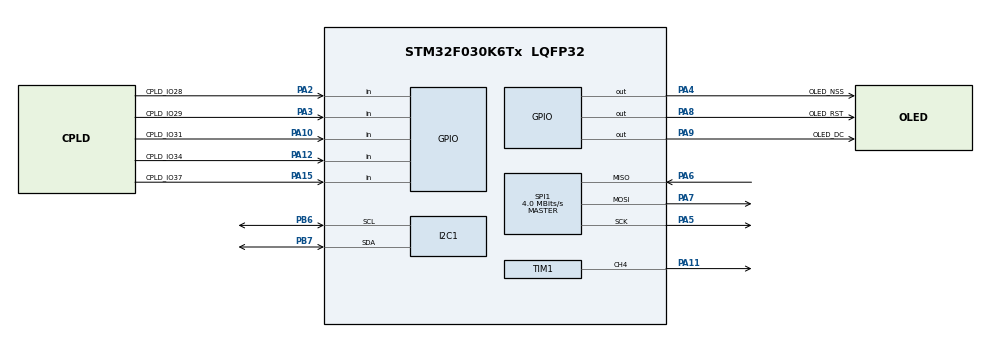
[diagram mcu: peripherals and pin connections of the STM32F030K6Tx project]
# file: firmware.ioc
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I2C1.Timing=0x00201D2B
Mcu.Family=STM32F0
Mcu.Name=STM32F030K6Tx
Mcu.Package=LQFP32
PA10.GPIO_Label=CPLD_IO31
PA10.Signal=GPIO_Input
PA11.Signal=S_TIM1_CH4
PA12.GPIO_Label=CPLD_IO34
PA12.Signal=GPIO_Input
PA13.Mode=Serial_Wire
PA13.Signal=SYS_SWDIO
PA14.Mode=Serial_Wire
PA14.Signal=SYS_SWCLK
PA15.GPIO_Label=CPLD_IO37
PA15.Signal=GPIO_Input
PA2.GPIO_Label=CPLD_IO28
PA2.Signal=GPIO_Input
PA3.GPIO_Label=CPLD_IO29
PA3.Signal=GPIO_Input
PA4.GPIO_Label=OLED_NSS
PA4.Signal=GPIO_Output
PA5.Mode=Full_Duplex_Master
PA5.Signal=SPI1_SCK
PA6.Mode=Full_Duplex_Master
PA6.Signal=SPI1_MISO
PA7.Mode=Full_Duplex_Master
PA7.Signal=SPI1_MOSI
PA8.GPIO_Label=OLED_RST
PA8.Signal=GPIO_Output
PA9.GPIO_Label=OLED_DC
PA9.Signal=GPIO_Output
PB6.Mode=I2C
PB6.Signal=I2C1_SCL
PB7.Mode=I2C
PB7.Signal=I2C1_SDA
ProjectManager.HeapSize=0x200
ProjectManager.StackSize=0x400
ProjectManager.TargetToolchain=Makefile
SH.S_TIM1_CH4.0=TIM1_CH4,PWM Generation4 CH4
SPI1.CalculateBaudRate=4.0 MBits/s
SPI1.DataSize=SPI_DATASIZE_8BIT
SPI1.Direction=SPI_DIRECTION_2LINES
SPI1.Mode=SPI_MODE_MASTER
SPI1.VirtualType=VM_MASTER
TIM1.Channel-PWM\ Generation4\ CH4=TIM_CHANNEL_4
TIM1.Period=999
TIM1.Pulse-PWM\ Generation4\ CH4=500
VP_TIM1_VS_ClockSourceINT.Mode=Internal
board=custom

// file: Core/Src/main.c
/* USER CODE BEGIN Header */
/**
  ******************************************************************************
  * @file           : main.c
  * @brief          : Main program body
  ******************************************************************************
  * @attention
  *
  * Copyright (c) 2026 STMicroelectronics.
  * All rights reserved.
  *
  * This software is licensed under terms that can be found in the LICENSE file
  * in the root directory of this software component.
  * If no LICENSE file comes with this software, it is provided AS-IS.
  *
  ******************************************************************************
  */
/* USER CODE END Header */
#include "main.h"

/* USER CODE BEGIN Includes */
#include "oled_sh1106.h"
#include "stm32f0xx.h"
#include "stm32f0xx_hal_gpio_ex.h"
/* USER CODE END Includes */

I2C_HandleTypeDef hi2c1;

SPI_HandleTypeDef hspi1;

TIM_HandleTypeDef htim1;

void SystemClock_Config(void);
static void MX_GPIO_Init(void);
static void MX_SPI1_Init(void);
static void MX_TIM1_Init(void);
static void MX_I2C1_Init(void);

int main(void)
{

  /* MCU Configuration--------------------------------------------------------*/

  /* Reset of all peripherals, Initializes the Flash interface and the Systick. */
  HAL_Init();

  /* Configure the system clock */
  SystemClock_Config();

  /* Initialize all configured peripherals */
  MX_GPIO_Init();
  MX_SPI1_Init();
  MX_TIM1_Init();
  MX_I2C1_Init();
  /* USER CODE BEGIN 2 */
  /* CPLD clock: TIM1_CH4 8kHz PWM (configured in CubeMX) */
  HAL_TIM_PWM_Start(&htim1, TIM_CHANNEL_4);

  OLED_Init();

  /* Layout: 5 columns for monitor. Centers ~14,38,62,86,110 */
  #define CPLD_N      5
  #define CPLD_CX(i)  (14 + (i) * 24)
  #define CPLD_CY     26
  #define CPLD_R      5
  #define LABEL_Y     10
  #define DIGIT_Y     40
  #define BOX_Y0      18
  #define BOX_Y1      52

  /* Static frame: border + title + labels (28,29,31,34,37) - labels centered under icons */
  OLED_DrawRect(0, 0, OLED_WIDTH - 1, OLED_HEIGHT - 1);
  OLED_DrawString(34, 0, "CPLD MON");  /* space between CPLD and MON */
  OLED_DrawString(CPLD_CX(0) - 6, LABEL_Y, "28");  /* 4px right: was 4, now 8 */
  OLED_DrawString(CPLD_CX(1) - 6, LABEL_Y, "29");  /* was 28, now 32 */
  OLED_DrawString(CPLD_CX(2) - 6, LABEL_Y, "31");  /* was 52, now 56 */
  OLED_DrawString(CPLD_CX(3) - 6, LABEL_Y, "34");  /* was 76, now 80 */
  OLED_DrawString(CPLD_CX(4) - 6, LABEL_Y, "37");  /* was 100, now 104 */
  OLED_Refresh();

  /* USER CODE END 2 */

  /* Infinite loop */
  while (1)
  {

    /* USER CODE BEGIN 3 */
    GPIO_PinState s[CPLD_N];
    s[0] = HAL_GPIO_ReadPin(GPIOA, GPIO_PIN_2);
    s[1] = HAL_GPIO_ReadPin(GPIOA, GPIO_PIN_3);
    s[2] = HAL_GPIO_ReadPin(GPIOA, GPIO_PIN_10);
    s[3] = HAL_GPIO_ReadPin(GPIOA, GPIO_PIN_12);
    s[4] = HAL_GPIO_ReadPin(GPIOA, GPIO_PIN_15);

    for (int i = 0; i < CPLD_N; i++) {
      uint8_t cx = CPLD_CX(i);
      OLED_ClearRect(cx - 11, BOX_Y0, cx + 11, BOX_Y1);
      OLED_DrawCircle(cx, CPLD_CY, CPLD_R, (s[i] == GPIO_PIN_SET));
      OLED_DrawChar(cx - 3, DIGIT_Y, (s[i] == GPIO_PIN_SET) ? '1' : '0');  /* 6px char: center at cx */
    }

    OLED_Refresh();
    HAL_Delay(50);
  }
  /* USER CODE END 3 */
}

void SystemClock_Config(void)
{
  RCC_OscInitTypeDef RCC_OscInitStruct = {0};
  RCC_ClkInitTypeDef RCC_ClkInitStruct = {0};
  RCC_PeriphCLKInitTypeDef PeriphClkInit = {0};

  /** Initializes the RCC Oscillators according to the specified parameters
  * in the RCC_OscInitTypeDef structure.
  */
  RCC_OscInitStruct.OscillatorType = RCC_OSCILLATORTYPE_HSI;
  RCC_OscInitStruct.HSIState = RCC_HSI_ON;
  RCC_OscInitStruct.HSICalibrationValue = RCC_HSICALIBRATION_DEFAULT;
  RCC_OscInitStruct.PLL.PLLState = RCC_PLL_NONE;
  if (HAL_RCC_OscConfig(&RCC_OscInitStruct) != HAL_OK)
  {
    Error_Handler();
  }

  /** Initializes the CPU, AHB and APB buses clocks
  */
  RCC_ClkInitStruct.ClockType = RCC_CLOCKTYPE_HCLK|RCC_CLOCKTYPE_SYSCLK
                              |RCC_CLOCKTYPE_PCLK1;
  RCC_ClkInitStruct.SYSCLKSource = RCC_SYSCLKSOURCE_HSI;
  RCC_ClkInitStruct.AHBCLKDivider = RCC_SYSCLK_DIV1;
  RCC_ClkInitStruct.APB1CLKDivider = RCC_HCLK_DIV1;

  if (HAL_RCC_ClockConfig(&RCC_ClkInitStruct, FLASH_LATENCY_0) != HAL_OK)
  {
    Error_Handler();
  }
  PeriphClkInit.PeriphClockSelection = RCC_PERIPHCLK_I2C1;
  PeriphClkInit.I2c1ClockSelection = RCC_I2C1CLKSOURCE_HSI;
  if (HAL_RCCEx_PeriphCLKConfig(&PeriphClkInit) != HAL_OK)
  {
    Error_Handler();
  }
}

static void MX_I2C1_Init(void)
{

  hi2c1.Instance = I2C1;
  hi2c1.Init.Timing = 0x00201D2B;
  hi2c1.Init.OwnAddress1 = 0;
  hi2c1.Init.AddressingMode = I2C_ADDRESSINGMODE_7BIT;
  hi2c1.Init.DualAddressMode = I2C_DUALADDRESS_DISABLE;
  hi2c1.Init.OwnAddress2 = 0;
  hi2c1.Init.OwnAddress2Masks = I2C_OA2_NOMASK;
  hi2c1.Init.GeneralCallMode = I2C_GENERALCALL_DISABLE;
  hi2c1.Init.NoStretchMode = I2C_NOSTRETCH_DISABLE;
  if (HAL_I2C_Init(&hi2c1) != HAL_OK)
  {
    Error_Handler();
  }

  /** Configure Analogue filter
  */
  if (HAL_I2CEx_ConfigAnalogFilter(&hi2c1, I2C_ANALOGFILTER_ENABLE) != HAL_OK)
  {
    Error_Handler();
  }

  /** Configure Digital filter
  */
  if (HAL_I2CEx_ConfigDigitalFilter(&hi2c1, 0) != HAL_OK)
  {
    Error_Handler();
  }

}

static void MX_SPI1_Init(void)
{

  /* SPI1 parameter configuration*/
  hspi1.Instance = SPI1;
  hspi1.Init.Mode = SPI_MODE_MASTER;
  hspi1.Init.Direction = SPI_DIRECTION_2LINES;
  hspi1.Init.DataSize = SPI_DATASIZE_8BIT;
  hspi1.Init.CLKPolarity = SPI_POLARITY_LOW;
  hspi1.Init.CLKPhase = SPI_PHASE_1EDGE;
  hspi1.Init.NSS = SPI_NSS_SOFT;
  hspi1.Init.BaudRatePrescaler = SPI_BAUDRATEPRESCALER_2;
  hspi1.Init.FirstBit = SPI_FIRSTBIT_MSB;
  hspi1.Init.TIMode = SPI_TIMODE_DISABLE;
  hspi1.Init.CRCCalculation = SPI_CRCCALCULATION_DISABLE;
  hspi1.Init.CRCPolynomial = 7;
  hspi1.Init.CRCLength = SPI_CRC_LENGTH_DATASIZE;
  hspi1.Init.NSSPMode = SPI_NSS_PULSE_ENABLE;
  if (HAL_SPI_Init(&hspi1) != HAL_OK)
  {
    Error_Handler();
  }

}

static void MX_TIM1_Init(void)
{

  TIM_ClockConfigTypeDef sClockSourceConfig = {0};
  TIM_MasterConfigTypeDef sMasterConfig = {0};
  TIM_OC_InitTypeDef sConfigOC = {0};
  TIM_BreakDeadTimeConfigTypeDef sBreakDeadTimeConfig = {0};

  htim1.Instance = TIM1;
  htim1.Init.Prescaler = 0;
  htim1.Init.CounterMode = TIM_COUNTERMODE_UP;
  htim1.Init.Period = 999;
  htim1.Init.ClockDivision = TIM_CLOCKDIVISION_DIV1;
  htim1.Init.RepetitionCounter = 0;
  htim1.Init.AutoReloadPreload = TIM_AUTORELOAD_PRELOAD_DISABLE;
  if (HAL_TIM_Base_Init(&htim1) != HAL_OK)
  {
    Error_Handler();
  }
  sClockSourceConfig.ClockSource = TIM_CLOCKSOURCE_INTERNAL;
  if (HAL_TIM_ConfigClockSource(&htim1, &sClockSourceConfig) != HAL_OK)
  {
    Error_Handler();
  }
  if (HAL_TIM_PWM_Init(&htim1) != HAL_OK)
  {
    Error_Handler();
  }
  sMasterConfig.MasterOutputTrigger = TIM_TRGO_RESET;
  sMasterConfig.MasterSlaveMode = TIM_MASTERSLAVEMODE_DISABLE;
  if (HAL_TIMEx_MasterConfigSynchronization(&htim1, &sMasterConfig) != HAL_OK)
  {
    Error_Handler();
  }
  sConfigOC.OCMode = TIM_OCMODE_PWM1;
  sConfigOC.Pulse = 500;
  sConfigOC.OCPolarity = TIM_OCPOLARITY_HIGH;
  sConfigOC.OCFastMode = TIM_OCFAST_DISABLE;
  sConfigOC.OCIdleState = TIM_OCIDLESTATE_RESET;
  sConfigOC.OCNIdleState = TIM_OCNIDLESTATE_RESET;
  if (HAL_TIM_PWM_ConfigChannel(&htim1, &sConfigOC, TIM_CHANNEL_4) != HAL_OK)
  {
    Error_Handler();
  }
  sBreakDeadTimeConfig.OffStateRunMode = TIM_OSSR_DISABLE;
  sBreakDeadTimeConfig.OffStateIDLEMode = TIM_OSSI_DISABLE;
  sBreakDeadTimeConfig.LockLevel = TIM_LOCKLEVEL_OFF;
  sBreakDeadTimeConfig.DeadTime = 0;
  sBreakDeadTimeConfig.BreakState = TIM_BREAK_DISABLE;
  sBreakDeadTimeConfig.BreakPolarity = TIM_BREAKPOLARITY_HIGH;
  sBreakDeadTimeConfig.AutomaticOutput = TIM_AUTOMATICOUTPUT_DISABLE;
  if (HAL_TIMEx_ConfigBreakDeadTime(&htim1, &sBreakDeadTimeConfig) != HAL_OK)
  {
    Error_Handler();
  }
  HAL_TIM_MspPostInit(&htim1);

}

static void MX_GPIO_Init(void)
{
  GPIO_InitTypeDef GPIO_InitStruct = {0};

  /* GPIO Ports Clock Enable */
  __HAL_RCC_GPIOA_CLK_ENABLE();
  __HAL_RCC_GPIOB_CLK_ENABLE();

  /*Configure GPIO pin Output Level */
  HAL_GPIO_WritePin(GPIOA, OLED_NSS_Pin|OLED_RST_Pin|OLED_DC_Pin, GPIO_PIN_RESET);

  /*Configure GPIO pins : CPLD_IO28_Pin CPLD_IO29_Pin CPLD_IO31_Pin CPLD_IO34_Pin
                           CPLD_IO37_Pin */
  GPIO_InitStruct.Pin = CPLD_IO28_Pin|CPLD_IO29_Pin|CPLD_IO31_Pin|CPLD_IO34_Pin
                          |CPLD_IO37_Pin;
  GPIO_InitStruct.Mode = GPIO_MODE_INPUT;
  GPIO_InitStruct.Pull = GPIO_NOPULL;
  HAL_GPIO_Init(GPIOA, &GPIO_InitStruct);

  /*Configure GPIO pins : OLED_NSS_Pin OLED_RST_Pin OLED_DC_Pin */
  GPIO_InitStruct.Pin = OLED_NSS_Pin|OLED_RST_Pin|OLED_DC_Pin;
  GPIO_InitStruct.Mode = GPIO_MODE_OUTPUT_PP;
  GPIO_InitStruct.Pull = GPIO_NOPULL;
  GPIO_InitStruct.Speed = GPIO_SPEED_FREQ_LOW;
  HAL_GPIO_Init(GPIOA, &GPIO_InitStruct);

}

void Error_Handler(void)
{
  __disable_irq();
  while (1)
  {
  }
}
